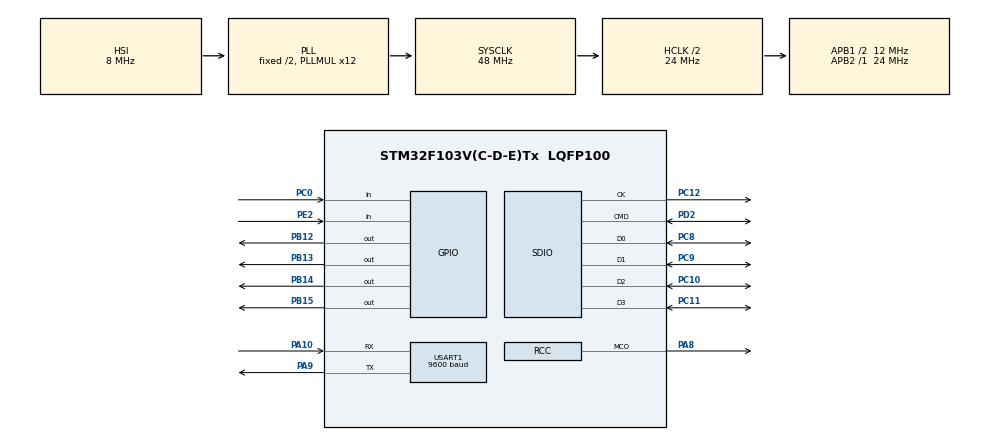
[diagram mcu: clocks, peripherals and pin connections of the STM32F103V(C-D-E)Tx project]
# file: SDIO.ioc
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FATFS.BSP.number=1
FATFS._CODE_PAGE=936
FATFS._USE_LFN=2
FATFS0.BSP.STBoard=false
FATFS0.BSP.api=Unknown
FATFS0.BSP.i2caddr=0
FATFS0.BSP.instance=PE2
FATFS0.BSP.ip=GPIO
FATFS0.BSP.mode=Input
FATFS0.BSP.name=Detect_SDIO
FATFS0.BSP.solution=PE2
Mcu.Family=STM32F1
Mcu.Name=STM32F103V(C-D-E)Tx
Mcu.Package=LQFP100
NVIC.PriorityGroup=NVIC_PRIORITYGROUP_4
NVIC.SDIO_IRQn=true\:0\:0\:false\:false\:true\:true\:true
PA10.Mode=Asynchronous
PA10.Signal=USART1_RX
PA8.Mode=Clock-out
PA8.Signal=RCC_MCO
PA9.Mode=Asynchronous
PA9.Signal=USART1_TX
PB12.Signal=GPIO_Output
PB13.Signal=GPIO_Output
PB14.Signal=GPIO_Output
PB15.Signal=GPIO_Output
PC0.GPIO_PuPd=GPIO_PULLUP
PC0.Signal=GPIO_Input
PC10.Mode=SD_4_bits_Wide_bus
PC10.Signal=SDIO_D2
PC11.Mode=SD_4_bits_Wide_bus
PC11.Signal=SDIO_D3
PC12.Mode=SD_4_bits_Wide_bus
PC12.Signal=SDIO_CK
PC8.Mode=SD_4_bits_Wide_bus
PC8.Signal=SDIO_D0
PC9.Mode=SD_4_bits_Wide_bus
PC9.Signal=SDIO_D1
PD2.Mode=SD_4_bits_Wide_bus
PD2.Signal=SDIO_CMD
PE2.Signal=GPIO_Input
ProjectManager.HeapSize=0x200
ProjectManager.StackSize=0x1000
ProjectManager.TargetToolchain=STM32CubeIDE
RCC.AHBCLKDivider=RCC_SYSCLK_DIV2
RCC.AHBFreq_Value=24000000
RCC.APB1CLKDivider=RCC_HCLK_DIV2
RCC.APB1Freq_Value=12000000
RCC.APB1TimFreq_Value=24000000
RCC.APB2Freq_Value=24000000
RCC.APB2TimFreq_Value=24000000
RCC.HCLKFreq_Value=24000000
RCC.HSEDivPLL=RCC_HSE_PREDIV_DIV2
RCC.PLLMUL=RCC_PLL_MUL12
RCC.SYSCLKFreq_VALUE=48000000
RCC.SYSCLKSource=RCC_SYSCLKSOURCE_PLLCLK
RCC.USBFreq_Value=48000000
SDIO.ClockBypass=SDIO_CLOCK_BYPASS_DISABLE
SDIO.ClockDiv=0
SDIO.ClockEdge=SDIO_CLOCK_EDGE_FALLING
SDIO.HardwareFlowControl=SDIO_HARDWARE_FLOW_CONTROL_DISABLE
USART1.BaudRate=9600
USART1.VirtualMode=VM_ASYNC
VP_FATFS_VS_SDIO.Mode=SDIO
VP_SYS_VS_ND.Mode=No_Debug
board=custom

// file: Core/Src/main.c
/* USER CODE BEGIN Header */
/**
  ******************************************************************************
  * @file           : main.c
  * @brief          : Main program body
  ******************************************************************************
  * @attention
  *
  * <h2><center>&copy; Copyright (c) 2021 STMicroelectronics.
  * All rights reserved.</center></h2>
  *
  * This software component is licensed by ST under BSD 3-Clause license,
  * the "License"; You may not use this file except in compliance with the
  * License. You may obtain a copy of the License at:
  *                        opensource.org/licenses/BSD-3-Clause
  *
  ******************************************************************************
  */
/* USER CODE END Header */
#include "main.h"
#include "fatfs.h"

/* USER CODE BEGIN Includes */
#include "string.h"
#include "File_Handling.h"
/* USER CODE END Includes */

/* USER CODE BEGIN PTD */
FATFS fs;
FRESULT fresult;
unsigned char buffer[64];
unsigned char cmd;
 char path;

unsigned char getingpath(void);
/* USER CODE END PTD */

SD_HandleTypeDef hsd;

UART_HandleTypeDef huart1;

void SystemClock_Config(void);
static void MX_GPIO_Init(void);
static void MX_SDIO_SD_Init(void);
static void MX_USART1_UART_Init(void);

int main(void)
{
  /* USER CODE BEGIN 1 */
	RCC->AHBENR |= 1<<10; // enabling clock for SDIO
  /* USER CODE END 1 */

  /* MCU Configuration--------------------------------------------------------*/

  /* Reset of all peripherals, Initializes the Flash interface and the Systick. */
  HAL_Init();

  /* Configure the system clock */
  SystemClock_Config();

  /* Initialize all configured peripherals */
  MX_GPIO_Init();
  MX_SDIO_SD_Init();
  MX_USART1_UART_Init();
  MX_FATFS_Init();
  /* USER CODE BEGIN 2 */

/* Errors: FR_DISK_ERR(this), FR_NOT_READY(SDIO_F103VET) */

  Mount_SD("/");
  /* USER CODE END 2 */

  /* Infinite loop */
  while (1)
  {

	  if(HAL_GPIO_ReadPin(GPIOC, GPIO_PIN_0)==0){

		   fresult = f_mount(&fs, "/", 1);

		    if(fresult==FR_OK) HAL_UART_Transmit(&huart1, "FR_OK", 5, 200);
			else if(fresult==FR_DISK_ERR) HAL_UART_Transmit(&huart1, "FR_DISK_ERR", 11, 200);
			else if(fresult==FR_INT_ERR) HAL_UART_Transmit(&huart1, "FR_INT_ERR", 10, 200);
			else if(fresult==FR_NOT_READY) HAL_UART_Transmit(&huart1, "FR_NOT_READY", 12, 200);
			else if(fresult==FR_NO_FILE) HAL_UART_Transmit(&huart1, "FR_NO_FILE", 10, 200);
			else if(fresult==FR_NO_PATH) HAL_UART_Transmit(&huart1, "FR_NO_PATH", 10, 200);
			else if(fresult==FR_INVALID_NAME) HAL_UART_Transmit(&huart1, "FR_INVALID_NAME", 15, 200);
			else if(fresult==FR_DENIED) HAL_UART_Transmit(&huart1, "FR_DENIED", 9, 200);
			else if(fresult==FR_EXIST) HAL_UART_Transmit(&huart1, "FR_EXIST", 8, 200);
			else if(fresult==FR_INVALID_OBJECT) HAL_UART_Transmit(&huart1, "FR_INVALID_OBJECT", 17, 200);
			else if(fresult==FR_WRITE_PROTECTED) HAL_UART_Transmit(&huart1, "FR_WRITE_PROTECTED", 18, 200);
			else if(fresult==FR_INVALID_DRIVE) HAL_UART_Transmit(&huart1, "FR_INVALID_DRIVE", 16, 200);
			else if(fresult==FR_NOT_ENABLED) HAL_UART_Transmit(&huart1, "FR_NOT_ENABLED", 14, 200);
			else if(fresult==FR_NO_FILESYSTEM) HAL_UART_Transmit(&huart1, "FR_NO_FILESYSTEM", 16, 200);
			else if(fresult==FR_MKFS_ABORTED) HAL_UART_Transmit(&huart1, "FR_MKFS_ABORTED", 15, 200);
			else if(fresult==FR_TIMEOUT) HAL_UART_Transmit(&huart1, "FR_TIMEOUT", 10, 200);
			else if(fresult==FR_LOCKED) HAL_UART_Transmit(&huart1, "FR_LOCKED", 9, 200);
			else if(fresult==FR_NOT_ENOUGH_CORE) HAL_UART_Transmit(&huart1, "FR_NOT_ENOUGH_CORE", 18, 200);
			else if(fresult==FR_TOO_MANY_OPEN_FILES) HAL_UART_Transmit(&huart1, "FR_TOO_MANY_OPEN_FILES", 22, 200);
			else if(fresult==FR_INVALID_PARAMETER) HAL_UART_Transmit(&huart1, "FR_INVALID_PARAMETER", 20, 200);
			else HAL_UART_Transmit(&huart1, "Invalid!", 8, 200);

	  }

    /* USER CODE BEGIN 3 */

	  	  while (buffer[0]!='\0' && buffer[1]!='\0' )
	  	  {
	  		  Get_string(buffer);
	  		  int len = length(buffer);
	  		  path= getingpath();

	  		  if (!(strncmp ("ls", buffer,len))) cmd = 'l';
	  		  if (!(strncmp ("mkdir", buffer,len))) cmd = 'm';
	  		  if (!(strncmp ("mkfil", buffer, len))) cmd = 'c';
	  		  if (!(strncmp ("read", buffer, len))) cmd = 'r';
	  		  if (!(strncmp ("write", buffer, len))) cmd = 'w';
	  		  if (!(strncmp ("rm", buffer, len))) cmd = 'd';
	  		  if (!(strncmp ("update", buffer, len))) cmd = 'u';
	  		  if (!(strncmp ("checkfile", buffer, len))) cmd = 'f';
	  		  if (!(strncmp ("checksd", buffer, len))) cmd = 's';

	  		  switch (cmd)
	  		  {
	  		  	  case ('l'):
	  		  			  scan_files(path);
	  		  	  	  	  cmd =0;
	  		  	  	  	  clear_buffer();
	  		  	  	  	  clear_path();
	  		  	  	  	  break;

	  			  case ('m'):
	  					  Create_Dir(path);
	  			  	  	  cmd=0;
	  			  	  	  clear_path();
	  			  	  	  break;

	  			  case ('c'):
	  					  Create_File(path);
	  			  	  	  cmd = 0;
	  			  	  	  clear_path();
	  			  	  	  break;

	  			  case ('r'):
	  					  Read_File(path);
	  			  	  	  cmd = 0;
	  			  	  	  clear_path();
	  			  	  	  break;

	  			  case ('d'):
	  					  Remove_File(path);
	  			  	  	  cmd = 0;
	  			  	  	  clear_path();
	  			  	  	  break;

	  			  case ('w'):
	  					  Write_File(path,buffer);
	  			  	  	  cmd = 0;
	  			  	  	  clear_path();
	  			  	  	  break;

	  			  case ('u'):
	  					  Update_File(path,buffer);
	  			  	  	  cmd = 0;
	  			  	  	  clear_path();
	  			  	  	  break;

	  			  case ('s'):
	  					  Check_SD_Space();
	  			  	  	  cmd = 0;
	  			  	  	  clear_path();
	  			  	  	  break;

	  			  default :
	  				  clear_buffer();
	  				  clear_path();
	  				  break;
	  		  }
	  	  }

  /* USER CODE END 3 */
}

}
void SystemClock_Config(void)
{
  RCC_OscInitTypeDef RCC_OscInitStruct = {0};
  RCC_ClkInitTypeDef RCC_ClkInitStruct = {0};

  /** Initializes the RCC Oscillators according to the specified parameters
  * in the RCC_OscInitTypeDef structure.
  */
  RCC_OscInitStruct.OscillatorType = RCC_OSCILLATORTYPE_HSI;
  RCC_OscInitStruct.HSIState = RCC_HSI_ON;
  RCC_OscInitStruct.HSICalibrationValue = RCC_HSICALIBRATION_DEFAULT;
  RCC_OscInitStruct.PLL.PLLState = RCC_PLL_ON;
  RCC_OscInitStruct.PLL.PLLSource = RCC_PLLSOURCE_HSI_DIV2;
  RCC_OscInitStruct.PLL.PLLMUL = RCC_PLL_MUL12;
  if (HAL_RCC_OscConfig(&RCC_OscInitStruct) != HAL_OK)
  {
    Error_Handler();
  }
  /** Initializes the CPU, AHB and APB buses clocks
  */
  RCC_ClkInitStruct.ClockType = RCC_CLOCKTYPE_HCLK|RCC_CLOCKTYPE_SYSCLK
                              |RCC_CLOCKTYPE_PCLK1|RCC_CLOCKTYPE_PCLK2;
  RCC_ClkInitStruct.SYSCLKSource = RCC_SYSCLKSOURCE_PLLCLK;
  RCC_ClkInitStruct.AHBCLKDivider = RCC_SYSCLK_DIV2;
  RCC_ClkInitStruct.APB1CLKDivider = RCC_HCLK_DIV2;
  RCC_ClkInitStruct.APB2CLKDivider = RCC_HCLK_DIV1;

  if (HAL_RCC_ClockConfig(&RCC_ClkInitStruct, FLASH_LATENCY_1) != HAL_OK)
  {
    Error_Handler();
  }
  HAL_RCC_MCOConfig(RCC_MCO, RCC_MCO1SOURCE_SYSCLK, RCC_MCODIV_1);
}

static void MX_SDIO_SD_Init(void)
{

  hsd.Instance = SDIO;
  hsd.Init.ClockEdge = SDIO_CLOCK_EDGE_RISING;
  hsd.Init.ClockBypass = SDIO_CLOCK_BYPASS_DISABLE;
  hsd.Init.ClockPowerSave = SDIO_CLOCK_POWER_SAVE_DISABLE;
  hsd.Init.BusWide = SDIO_BUS_WIDE_4B;
  hsd.Init.HardwareFlowControl = SDIO_HARDWARE_FLOW_CONTROL_ENABLE;
  hsd.Init.ClockDiv = 1;

}

static void MX_USART1_UART_Init(void)
{

  huart1.Instance = USART1;
  huart1.Init.BaudRate = 9600;
  huart1.Init.WordLength = UART_WORDLENGTH_8B;
  huart1.Init.StopBits = UART_STOPBITS_1;
  huart1.Init.Parity = UART_PARITY_NONE;
  huart1.Init.Mode = UART_MODE_TX_RX;
  huart1.Init.HwFlowCtl = UART_HWCONTROL_NONE;
  huart1.Init.OverSampling = UART_OVERSAMPLING_16;
  if (HAL_UART_Init(&huart1) != HAL_OK)
  {
    Error_Handler();
  }

}

static void MX_GPIO_Init(void)
{
  GPIO_InitTypeDef GPIO_InitStruct = {0};

  /* GPIO Ports Clock Enable */
  __HAL_RCC_GPIOE_CLK_ENABLE();
  __HAL_RCC_GPIOC_CLK_ENABLE();
  __HAL_RCC_GPIOB_CLK_ENABLE();
  __HAL_RCC_GPIOA_CLK_ENABLE();
  __HAL_RCC_GPIOD_CLK_ENABLE();

  /*Configure GPIO pin Output Level */
  HAL_GPIO_WritePin(GPIOB, GPIO_PIN_12|GPIO_PIN_13|GPIO_PIN_14|GPIO_PIN_15, GPIO_PIN_RESET);

  /*Configure GPIO pin : PE2 */
  GPIO_InitStruct.Pin = GPIO_PIN_2;
  GPIO_InitStruct.Mode = GPIO_MODE_INPUT;
  GPIO_InitStruct.Pull = GPIO_NOPULL;
  HAL_GPIO_Init(GPIOE, &GPIO_InitStruct);

  /*Configure GPIO pin : PC0 */
  GPIO_InitStruct.Pin = GPIO_PIN_0;
  GPIO_InitStruct.Mode = GPIO_MODE_INPUT;
  GPIO_InitStruct.Pull = GPIO_PULLUP;
  HAL_GPIO_Init(GPIOC, &GPIO_InitStruct);

  /*Configure GPIO pins : PB12 PB13 PB14 PB15 */
  GPIO_InitStruct.Pin = GPIO_PIN_12|GPIO_PIN_13|GPIO_PIN_14|GPIO_PIN_15;
  GPIO_InitStruct.Mode = GPIO_MODE_OUTPUT_PP;
  GPIO_InitStruct.Pull = GPIO_NOPULL;
  GPIO_InitStruct.Speed = GPIO_SPEED_FREQ_LOW;
  HAL_GPIO_Init(GPIOB, &GPIO_InitStruct);

  /*Configure GPIO pin : PA8 */
  GPIO_InitStruct.Pin = GPIO_PIN_8;
  GPIO_InitStruct.Mode = GPIO_MODE_AF_PP;
  GPIO_InitStruct.Speed = GPIO_SPEED_FREQ_LOW;
  HAL_GPIO_Init(GPIOA, &GPIO_InitStruct);

}

/* USER CODE BEGIN 4 */

void Get_string(char *buffer){

HAL_UART_Receive(&huart1, buffer, 64, 300);

}

int length(char *buffer){
	uint8_t len=0;
	while(*buffer!='\0' || *buffer!='\n'){
		len++;
	}
	len--;

	return len;
}

unsigned char getingpath(void){

	int start = length(buffer)+1;
	int end = length(buffer)-2;

	int j=0;
	for (int i=start; i<end; i++)
	{
		if (buffer[i] != ' ') return buffer[i];

	}
}

void clear_buffer (void)
{
	for (int i=0; i<64; i++) buffer[i] = '\0';
}

void clear_path (void)
{
	for (int i=0; i<64; i++) path = '\0';
}
/* USER CODE END 4 */

void Error_Handler(void)
{
  __disable_irq();
  while (1)
  {
  }
}

/************************ (C) COPYRIGHT STMicroelectronics *****END OF FILE****/
